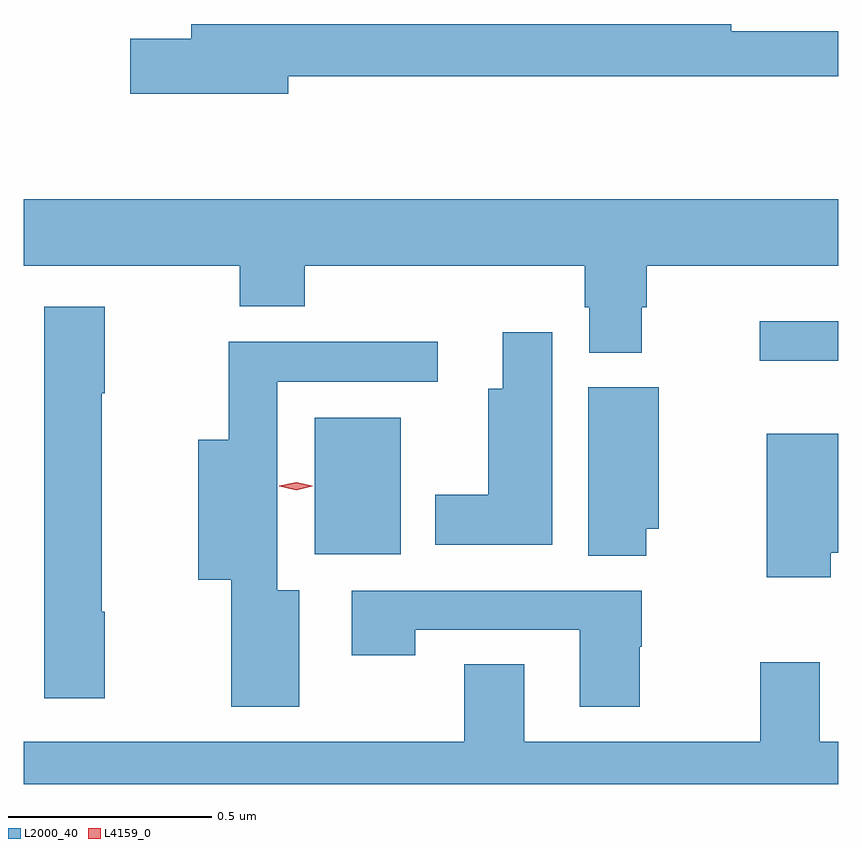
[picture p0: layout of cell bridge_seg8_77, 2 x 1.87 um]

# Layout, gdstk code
import gdstk
lib = gdstk.Library(unit=1e-6, precision=1e-09)
def R(c, l, rs):  # rectangles x0, y0, x1, y1
    for r in rs: c.add(gdstk.rectangle(r[:2], r[2:], *l))
def P(c, l, *ps):  # polygons
    for p in ps: c.add(gdstk.Polygon(p, *l))
L2000_40 = (2000, 40)
L4159_0 = (4159, 0)

bridge_seg8_77 = lib.new_cell('bridge_seg8_77')
R(bridge_seg8_77, L2000_40, [(951.446,1102.472,951.658,1102.807), (952.539,1102.947,952.732,1103.044)])
P(bridge_seg8_77, L2000_40, [(951.382,1103.646),(952.732,1103.646),(952.732,1103.756),(952.469,1103.756),(952.469,1103.774),(951.143,1103.774),(951.143,1103.738),(950.994,1103.738),(950.994,1103.603),(951.382,1103.603)],
  [(952.249,1103.079),(952.262,1103.079),(952.262,1103.18),(952.732,1103.18),(952.732,1103.344),(950.732,1103.344),(950.732,1103.18),(951.262,1103.18),(951.262,1103.081),(951.422,1103.081),(951.422,1103.18),(952.109,1103.18),(952.109,1103.079),(952.121,1103.079),(952.121,1102.967),(952.249,1102.967)],
  [(950.931,1102.331),(950.923,1102.331),(950.923,1102.867),(950.931,1102.867),(950.931,1103.08),(950.783,1103.08),(950.783,1102.119),(950.931,1102.119)],
  [(952.03,1103.017),(951.908,1103.017),(951.908,1102.879),(951.872,1102.879),(951.872,1102.618),(951.743,1102.618),(951.743,1102.496),(952.03,1102.496)],
  [(951.409,1102.384),(951.355,1102.384),(951.355,1102.896),(951.748,1102.896),(951.748,1102.994),(951.235,1102.994),(951.235,1102.753),(951.161,1102.753),(951.161,1102.409),(951.242,1102.409),(951.242,1102.098),(951.409,1102.098)],
  [(952.26,1102.535),(952.291,1102.535),(952.291,1102.882),(952.118,1102.882),(952.118,1102.468),(952.26,1102.468)],
  [(952.714,1102.476),(952.732,1102.476),(952.732,1102.768),(952.556,1102.768),(952.556,1102.416),(952.714,1102.416)],
  [(952.245,1102.245),(952.25,1102.245),(952.25,1102.383),(951.537,1102.383),(951.537,1102.224),(951.693,1102.224),(951.693,1102.287),(952.097,1102.287),(952.097,1102.098),(952.245,1102.098)],
  [(952.732,1102.012),(952.687,1102.012),(952.687,1102.207),(952.54,1102.207),(952.54,1102.012),(951.961,1102.012),(951.961,1102.202),(951.814,1102.202),(951.814,1102.012),(950.732,1102.012),(950.732,1101.908),(952.732,1101.908)])
P(bridge_seg8_77, L4159_0, [(951.401,1102.629),(951.36,1102.639),(951.36,1102.639),(951.36,1102.64),(951.401,1102.649),(951.441,1102.64),(951.441,1102.639),(951.441,1102.639)])

lib.write_gds('bridge_seg8_77.gds')
